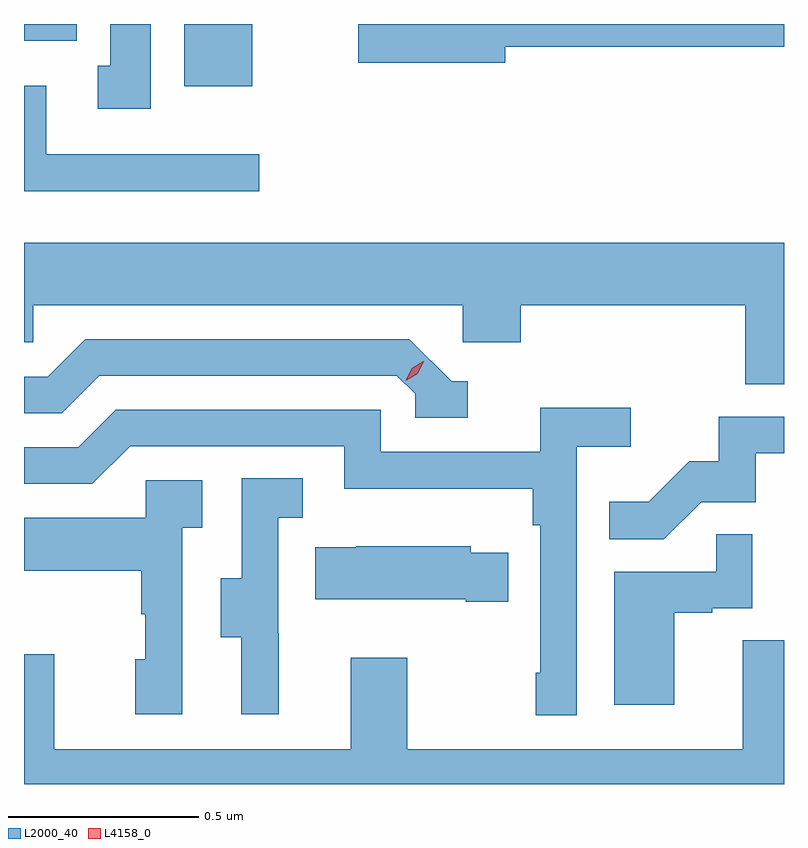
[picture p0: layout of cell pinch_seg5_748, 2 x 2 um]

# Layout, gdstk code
import gdstk
lib = gdstk.Library(unit=1e-6, precision=1e-09)
def R(c, l, rs):  # rectangles x0, y0, x1, y1
    for r in rs: c.add(gdstk.rectangle(r[:2], r[2:], *l))
def P(c, l, *ps):  # polygons
    for p in ps: c.add(gdstk.Polygon(p, *l))
L2000_40 = (2000, 40)
L4158_0 = (4158, 0)

pinch_seg5_748 = lib.new_cell('pinch_seg5_748')
R(pinch_seg5_748, L2000_40, [(858.185,914.612,858.364,914.776), (857.763,914.732,857.902,914.776)])
P(pinch_seg5_748, L2000_40, [(858.097,914.776),(857.99,914.776),(857.99,914.666),(857.957,914.666),(857.957,914.553),(858.097,914.553)],
  [(859.03,914.716),(859.763,914.716),(859.763,914.776),(858.642,914.776),(858.642,914.674),(859.03,914.674)],
  [(858.382,914.433),(857.821,914.433),(857.821,914.614),(857.763,914.614),(857.763,914.336),(858.382,914.336)],
  [(859.763,914.2),(857.763,914.2),(857.763,913.938),(857.787,913.938),(857.787,914.036),(858.918,914.036),(858.918,913.938),(859.07,913.938),(859.07,914.036),(859.661,914.036),(859.661,913.828),(859.763,913.828)],
  [(858.931,913.836),(858.888,913.836),(858.777,913.947),(857.924,913.947),(857.825,913.848),(857.763,913.848),(857.763,913.752),(857.862,913.752),(857.961,913.851),(858.744,913.851),(858.792,913.803),(858.792,913.74),(858.931,913.74)],
  [(859.218,913.664),(859.36,913.664),(859.36,913.766),(859.121,913.766),(859.121,913.65),(858.702,913.65),(858.702,913.761),(858.005,913.761),(857.906,913.662),(857.763,913.662),(857.763,913.566),(857.943,913.566),(858.042,913.665),(858.606,913.665),(858.606,913.553),(859.102,913.553),(859.102,913.457),(859.122,913.457),(859.122,913.069),(859.11,913.069),(859.11,912.957),(859.218,912.957)],
  [(859.545,913.518),(859.689,913.518),(859.689,913.647),(859.763,913.647),(859.763,913.743),(859.591,913.743),(859.591,913.626),(859.514,913.626),(859.407,913.519),(859.303,913.519),(859.303,913.42),(859.447,913.42)],
  [(858.434,913.173),(858.432,913.173),(858.432,913.477),(858.496,913.477),(858.496,913.58),(858.336,913.58),(858.336,913.317),(858.281,913.317),(858.281,913.162),(858.335,913.162),(858.335,912.96),(858.434,912.96)],
  [(858.18,913.451),(858.232,913.451),(858.232,913.575),(858.084,913.575),(858.084,913.477),(857.763,913.477),(857.763,913.337),(858.072,913.337),(858.072,913.223),(858.082,913.223),(858.082,913.104),(858.056,913.104),(858.056,912.96),(858.18,912.96)],
  [(859.474,913.227),(859.574,913.227),(859.574,913.239),(859.68,913.239),(859.68,913.433),(859.585,913.433),(859.585,913.335),(859.316,913.335),(859.316,912.984),(859.474,912.984)],
  [(859.037,913.384),(858.939,913.384),(858.939,913.402),(858.637,913.402),(858.637,913.399),(858.529,913.399),(858.529,913.262),(858.926,913.262),(858.926,913.255),(859.037,913.255)],
  [(859.763,913.154),(859.655,913.154),(859.655,912.868),(858.771,912.868),(858.771,913.108),(858.623,913.108),(858.623,912.868),(857.843,912.868),(857.843,913.117),(857.763,913.117),(857.763,912.776),(859.763,912.776)])
P(pinch_seg5_748, L4158_0, [(858.768,913.837),(858.768,913.837),(858.784,913.87),(858.814,913.889),(858.815,913.889),(858.815,913.889),(858.799,913.856),(858.768,913.837)])

lib.write_gds('pinch_seg5_748.gds')
